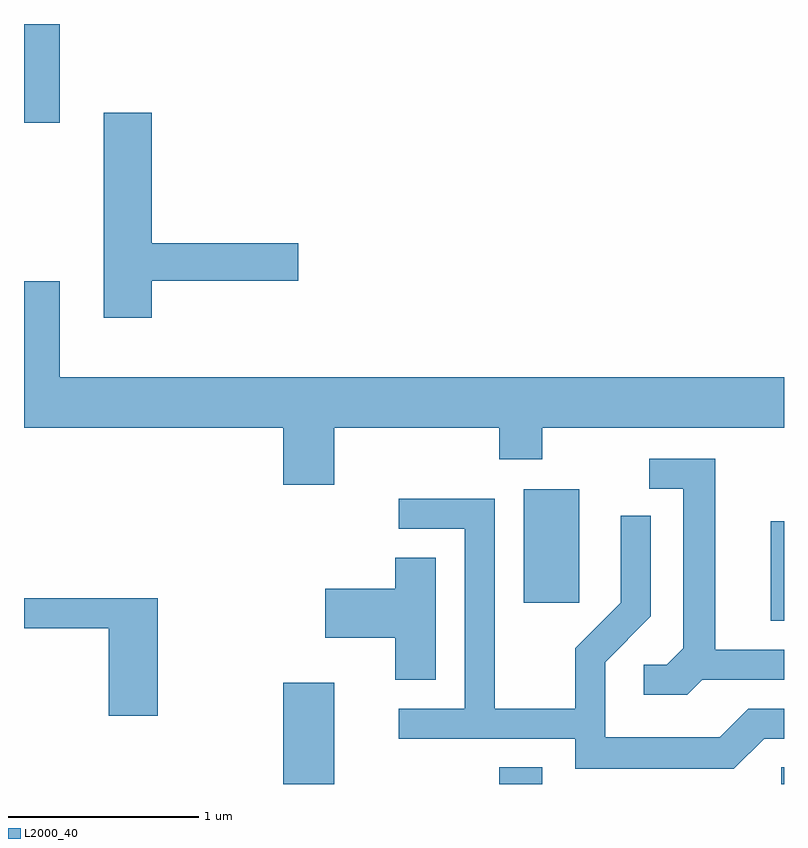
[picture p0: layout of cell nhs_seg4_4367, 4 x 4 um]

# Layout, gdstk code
import gdstk
lib = gdstk.Library(unit=1e-6, precision=1e-09)
def R(c, l, rs):  # rectangles x0, y0, x1, y1
    for r in rs: c.add(gdstk.rectangle(r[:2], r[2:], *l))
def P(c, l, *ps):  # polygons
    for p in ps: c.add(gdstk.Polygon(p, *l))
L2000_40 = (2000, 40)

nhs_seg4_4367 = lib.new_cell('nhs_seg4_4367')
R(nhs_seg4_4367, L2000_40, [(314.976,1283.982,315.244,1284.514), (316.111,1283.982,316.339,1284.069), (317.596,1283.982,317.611,1284.069), (317.541,1284.841,317.611,1285.364), (316.241,1284.936,316.534,1285.534), (313.611,1287.461,313.799,1287.982)])
P(nhs_seg4_4367, L2000_40, [(314.284,1286.631),(315.054,1286.631),(315.054,1286.829),(314.284,1286.829),(314.284,1287.514),(314.031,1287.514),(314.031,1286.436),(314.284,1286.436)],
  [(315.244,1285.856),(316.111,1285.856),(316.111,1285.691),(316.339,1285.691),(316.339,1285.856),(317.611,1285.856),(317.611,1286.124),(313.799,1286.124),(313.799,1286.629),(313.611,1286.629),(313.611,1285.856),(314.976,1285.856),(314.976,1285.556),(315.244,1285.556)],
  [(317.182,1284.531),(317.611,1284.531),(317.611,1284.689),(317.249,1284.689),(317.249,1285.694),(316.903,1285.694),(316.903,1285.536),(317.081,1285.536),(317.081,1284.697),(316.994,1284.609),(316.873,1284.609),(316.873,1284.451),(317.102,1284.451)],
  [(317.507,1284.221),(317.611,1284.221),(317.611,1284.379),(317.424,1284.379),(317.274,1284.229),(316.669,1284.229),(316.669,1284.624),(316.909,1284.864),(316.909,1285.393),(316.751,1285.393),(316.751,1284.937),(316.511,1284.697),(316.511,1284.379),(316.089,1284.379),(316.089,1285.484),(315.583,1285.484),(315.583,1285.326),(315.931,1285.326),(315.931,1284.379),(315.583,1284.379),(315.583,1284.221),(316.511,1284.221),(316.511,1284.061),(317.347,1284.061)],
  [(315.779,1285.174),(315.566,1285.174),(315.566,1285.009),(315.196,1285.009),(315.196,1284.751),(315.566,1284.751),(315.566,1284.531),(315.779,1284.531)],
  [(314.314,1284.959),(313.611,1284.959),(313.611,1284.801),(314.056,1284.801),(314.056,1284.341),(314.314,1284.341)])

lib.write_gds('nhs_seg4_4367.gds')
